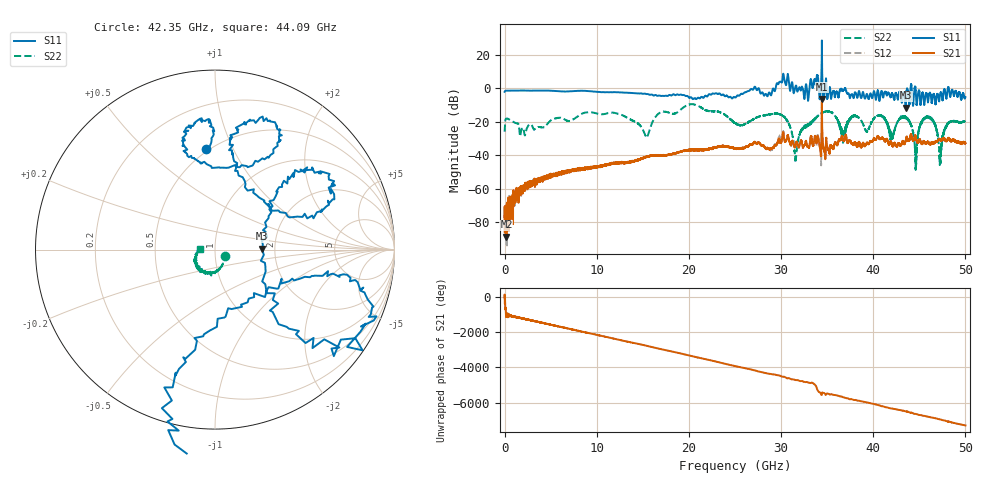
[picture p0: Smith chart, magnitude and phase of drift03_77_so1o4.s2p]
!Created with skrf (http://scikit-rf.org).
# Hz S RI R 50.0
!freq ReS11 ImS11 ReS21 ImS21 ReS12 ImS12 ReS22 ImS22
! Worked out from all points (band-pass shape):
!   10000 points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, 5.3 MHz to 50 GHz, reference 50 ohm
!   highest |S21| = -6.33 dB at 34.43 GHz (marker M1); lowest = -88.5 dB at 205.3 MHz (marker M2)
!   |S21| within 3 dB of the highest: 34.4276 GHz to 34.43449 GHz (6.89 MHz wide, 0.02 % of centre)
!   lowest |S11| = -11.6 dB at 43.52 GHz (marker M3), VSWR 1.71, Z = 85.4 + j0.899 ohm
!   |S11| at or under -10 dB: 43.48661 GHz to 43.54948 GHz (62.87 MHz wide, 0.144 % of centre); 44.30851 GHz to 44.31294 GHz (4.431 MHz wide, 0.01 % of centre); 44.32287 GHz to 44.32935 GHz (6.481 MHz wide, 0.0146 % of centre) (the widest 3 of 5)
!   |S22| runs from -48.7 to -9.4 dB; largest |S21 - S12| = 0.14
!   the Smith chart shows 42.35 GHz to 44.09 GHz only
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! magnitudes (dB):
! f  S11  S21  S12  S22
! 5.3 MHz  -2.1  -76.8  -71.1  -25.9
! 205.3 MHz  -1.4  -88.5  -75.1  -18.0
! 3.095 GHz  -1.4  -56.8  -56.7  -23.7
! 8.34 GHz  -1.5  -48.1  -47.8  -15.3
! 15.4 GHz  -3.4  -40.9  -40.9  -29.0
! 16.67 GHz  -4.4  -40.3  -40.3  -15.3
! 20.45 GHz  -6.5  -36.8  -36.7  -9.5
! 25.01 GHz  -5.5  -35.8  -36.0  -20.8
! 29.92 GHz  3.9  -32.4  -31.4  -15.5
! 31.59 GHz  1.4  -34.0  -34.1  -43.5
! 33.34 GHz  2.6  -30.0  -30.7  -19.9
! 34.43 GHz  28.6  -6.3  -8.4  -14.5
! 36.69 GHz  -1.4  -29.9  -30.0  -28.5
! 37.93 GHz  -4.7  -33.2  -33.0  -16.7
! 41.67 GHz  -2.8  -33.3  -33.3  -23.2
! 43.52 GHz  -11.6  -31.5  -31.4  -17.4
! 44.62 GHz  -2.7  -29.5  -29.4  -48.1
! 45.28 GHz  -3.5  -33.1  -33.3  -19.6
! 46.28 GHz  -5.9  -32.9  -32.6  -17.9
! 47.28 GHz  -3.1  -30.7  -30.5  -44.8
! 48.15 GHz  0.6  -29.9  -29.6  -20.6
! 50 GHz  -5.3  -32.6  -32.5  -19.5
